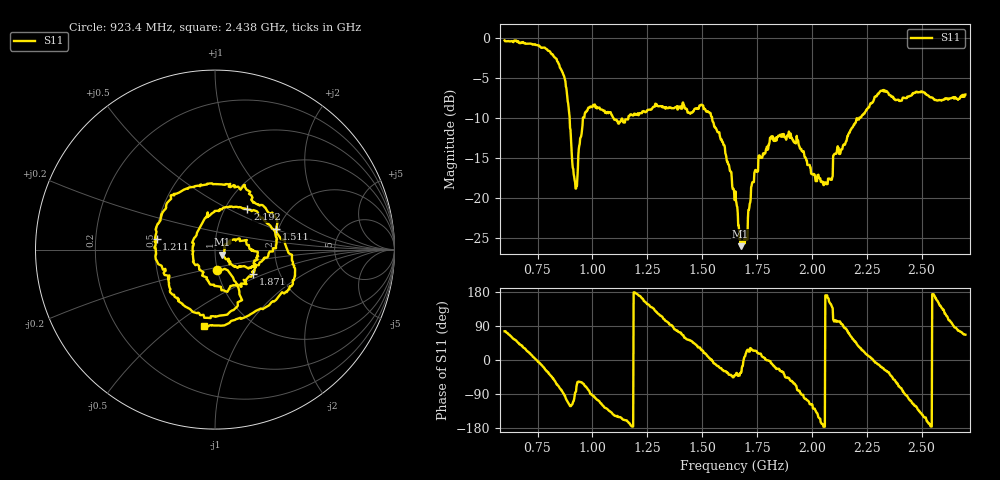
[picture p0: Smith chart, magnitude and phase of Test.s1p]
! Touchstone File generated by Pico VNA Metrology Engine
! 1-Port S-Parameters (S11)
# MHz S DB R 50.0
! Freq (MHz)  Mag (dB)  Phase (deg)
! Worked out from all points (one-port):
!   1001 points, 600 MHz to 2.7 GHz, reference 50 ohm
!   lowest |S11| = -26.0 dB at 1.675 GHz (marker M1), VSWR 1.11, Z = 54.2 - j3.06 ohm
!   |S11| at or under -10 dB: 896.4 MHz to 956.8 MHz (60.47 MHz wide, 6.53 % of centre); 1.096 GHz to 1.164 GHz (67.14 MHz wide, 5.94 % of centre); 1.546 GHz to 2.216 GHz (670.6 MHz wide, 35.6 % of centre)
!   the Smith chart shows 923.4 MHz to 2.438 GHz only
!   S11 on the Smith chart (normalised r, x): 923.4 MHz: 0.99, -0.23; 1.211 GHz: 0.51, +0.07; 1.511 GHz: 1.95, +0.52; 1.871 GHz: 1.47, -0.42; 2.192 GHz: 1.27, +0.62; 2.438 GHz: 0.62, -0.65
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600  -0.29 75.9
654.6  -0.41 49.8
744.9  -0.86 0.4
812.1  -1.91 -42.2
862.5  -4.23 -82.9
889.8  -8.17 -113.0
923.4  -18.79 -84.7
975.9  -9.07 -74.2
1125  -10.44 -150.6
1211.1  -9.62 170.0
1297.2  -8.46 123.6
1387.5  -8.91 77.7
1511.4  -8.85 18.6
1593.3  -12.93 -27.0
1650  -20.21 -40.8
1675.2  -25.98 -34.1
1696.2  -25.13 10.0
1767.6  -14.95 16.7
1870.5  -11.98 -32.1
1912.5  -12.71 -57.6
2061.6  -18.02 170.6
2175  -11.56 64.4
2191.8  -10.81 51.1
2319.9  -6.57 -20.0
2437.5  -7.30 -98.5
2548.8  -7.44 173.8
2616  -7.51 115.9
2700  -7.04 66.8
